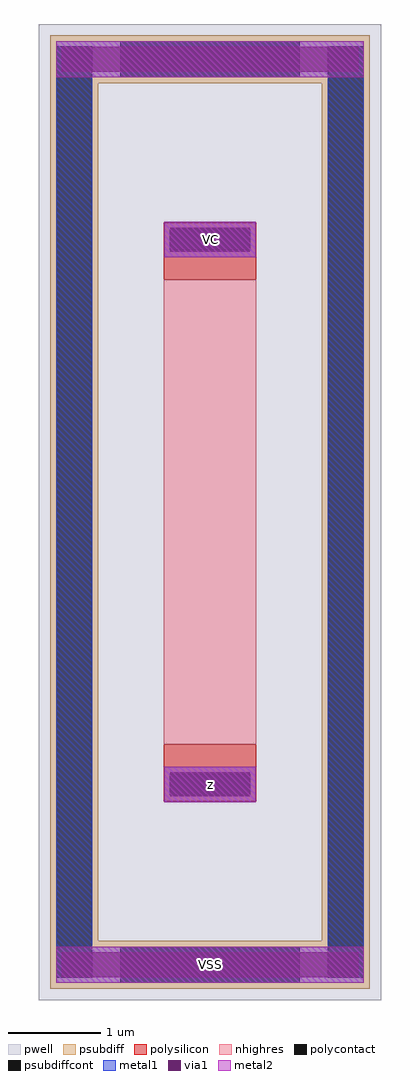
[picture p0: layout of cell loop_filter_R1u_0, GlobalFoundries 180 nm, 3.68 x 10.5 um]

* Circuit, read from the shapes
.subckt loop_filter_R1u_0 z VC VSS
XR1 VC z VSS ppolyf_u_1k r_width=1u r_length=5u
.ends

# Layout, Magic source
magic
tech gf180mcuD
magscale 1 10
<< pwell >>
rect -368 -464 368 1636
<< psubdiff >>
rect -344 -440 344 -336
rect -344 1508 344 1612
rect -344 -336 -240 1508
rect 240 -336 344 1508
<< polysilicon >>
rect -100 1086 100 1208
rect -100 -36 100 86
<< nhighres >>
rect -100 86 100 1086
<< psubdiffcont >>
rect -331 -416 -253 1588
rect 253 -416 331 1588
rect -193 1521 193 1599
rect -193 -427 193 -349
<< polycontact >>
rect -87 1149 87 1195
rect -87 -23 87 23
<< metal1 >>
rect -98 1149 98 1195
rect -98 -23 98 23
rect -98 -38 98 38
rect -98 1134 98 1210
rect -331 -427 331 -349
rect -331 1521 331 1599
rect -331 -427 -253 1599
rect 253 -427 331 1599
rect -331 -427 331 -349
rect -331 1521 331 1599
<< metal2 >>
rect -98 -38 98 38
rect -98 1134 98 1210
rect -331 -427 331 -349
rect -331 1521 331 1599
<< via1 >>
rect -86 -26 86 26
rect -86 1146 86 1198
rect -319 -415 319 -361
rect -319 1533 319 1587
<< labels >>
flabel metal2 s -98 -38 98 38 0 FreeSans 80 0 0 0 z
port 1 nsew signal bidirectional
flabel metal2 s -98 1134 98 1210 0 FreeSans 80 0 0 0 VC
port 2 nsew signal bidirectional
flabel metal2 s -331 -427 331 -349 0 FreeSans 80 0 0 0 VSS
port 3 nsew signal bidirectional
<< end >>
